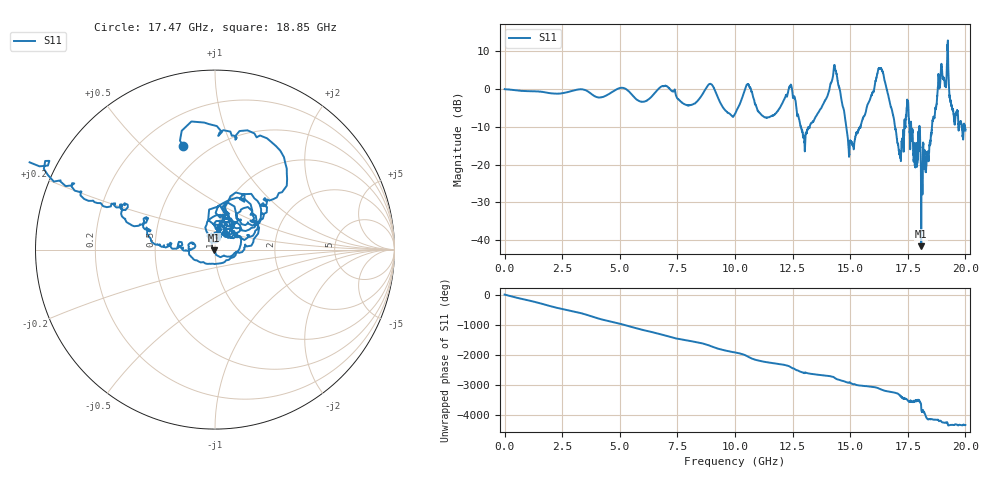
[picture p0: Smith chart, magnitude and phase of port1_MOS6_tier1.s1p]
! Created with skrf 1.8.0 (http://scikit-rf.org).
# GHz S RI R 50.0
!freq ReS11 ImS11
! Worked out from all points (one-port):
!   10001 points, 1 MHz to 20 GHz, reference 50 ohm
!   lowest |S11| = -41.6 dB at 18.08 GHz (marker M1), VSWR 1.02, Z = 49.3 - j0.462 ohm
!   |S11| at or under -10 dB: 14.83 GHz to 15.45 GHz (615.8 MHz wide, 4.07 % of centre); 16.95 GHz to 17.35 GHz (402.8 MHz wide, 2.35 % of centre); 18.01 GHz to 18.55 GHz (541 MHz wide, 2.96 % of centre) (the widest 3 of 16)
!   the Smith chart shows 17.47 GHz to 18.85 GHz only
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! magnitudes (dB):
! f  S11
! 1 MHz  0.0
! 2.501 GHz  -1.1
! 5.001 GHz  0.3
! 5.941 GHz  -3.3
! 6.913 GHz  0.8
! 7.501 GHz  -2.5
! 8.177 GHz  -4.0
! 8.943 GHz  1.4
! 9.549 GHz  -5.4
! 10 GHz  -6.6
! 10.53 GHz  1.3
! 11.34 GHz  -7.5
! 12.5 GHz  -1.2
! 13.03 GHz  -16.0
! 14.35 GHz  5.2
! 15 GHz  -13.7
! 16.29 GHz  5.5
! 16.5 GHz  2.2
! 17.12 GHz  -16.2
! 17.5 GHz  -3.8
! 17.82 GHz  -20.7
! 17.96 GHz  -12.2
! 18.08 GHz  -41.6
! 18.35 GHz  -17.0
! 18.92 GHz  3.1
! 19.2 GHz  6.4
! 19.47 GHz  -5.6
! 20 GHz  -11.0
